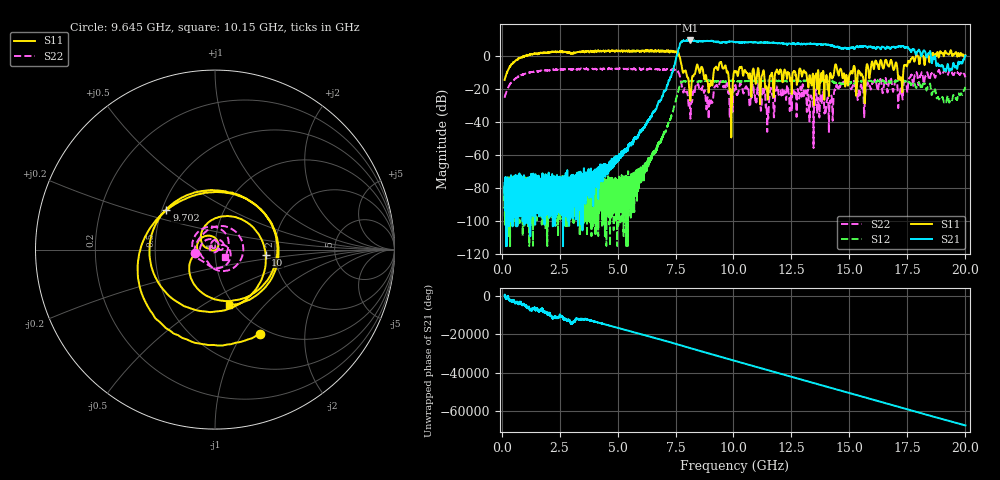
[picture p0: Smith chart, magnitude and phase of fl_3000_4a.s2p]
!Created with skrf (http://scikit-rf.org).
# GHz S RI R 50.0
!freq ReS11 ImS11 ReS21 ImS21 ReS12 ImS12 ReS22 ImS22
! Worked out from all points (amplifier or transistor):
!   20013 points, 130 MHz to 20 GHz, reference 50 ohm
!   highest |S21| = 9.7 dB at 8.134 GHz (marker M1)
!   |S21| within 3 dB of that: 7.68 GHz to 14.19 GHz (6.513 GHz wide, 59.6 % of centre)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
!   unconditionally stable (mu >= 1): 8.441 GHz to 9.388 GHz; 9.48 GHz to 16.36 GHz; 16.82 GHz to 17.67 GHz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
!   at 3.465 GHz: K = -32227003.43, MSG = 2.4 dB, |S12| = -81.0 dB
!   at 10.14 GHz: K = 1.16, MAG = 9.5 dB, |S12| = -15.0 dB
!   at 20 GHz: K = -0.39, MSG = 9.6 dB, |S12| = -18.5 dB
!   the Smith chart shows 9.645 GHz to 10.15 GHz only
!   S11 on the Smith chart (normalised r, x): 9.645 GHz: 0.91, -1.20; 9.702 GHz: 0.53, +0.26; 10 GHz: 1.78, -0.11; 10.15 GHz: 0.94, -0.65
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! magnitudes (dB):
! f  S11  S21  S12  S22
! 130 MHz  -14.3  -86.6  -78.6  -25.1
! 1.007 GHz  0.4  -82.6  -75.7  -10.6
! 3.442 GHz  3.0  -83.0  -91.0  -7.4
! 5.591 GHz  2.7  -53.9  -84.7  -7.7
! 6.754 GHz  3.3  -28.2  -52.8  -7.8
! 7.584 GHz  1.5  1.3  -23.0  -8.6
! 8.134 GHz  -27.0  9.7  -14.8  -35.2
! 8.42 GHz  -5.2  9.0  -15.3  -18.6
! 8.913 GHz  -20.0  9.4  -14.8  -29.7
! 9.645 GHz  -5.5  8.4  -15.4  -18.8
! 9.702 GHz  -9.2  8.2  -15.4  -16.4
! 9.872 GHz  -21.1  9.1  -14.8  -30.7
! 10 GHz  -11.0  8.9  -15.1  -19.6
! 10.06 GHz  -9.1  8.8  -15.1  -18.1
! 10.15 GHz  -9.9  8.7  -15.0  -23.3
! 13.38 GHz  -17.5  7.6  -14.4  -25.8
! 14.71 GHz  -13.2  4.9  -16.5  -16.5
! 16.69 GHz  -6.1  5.6  -15.3  -16.8
! 17.2 GHz  -13.4  6.1  -14.4  -19.5
! 17.88 GHz  0.6  1.1  -19.1  -10.0
! 19.11 GHz  2.7  -7.8  -27.3  -8.3
! 20 GHz  0.8  0.6  -18.5  -12.7
